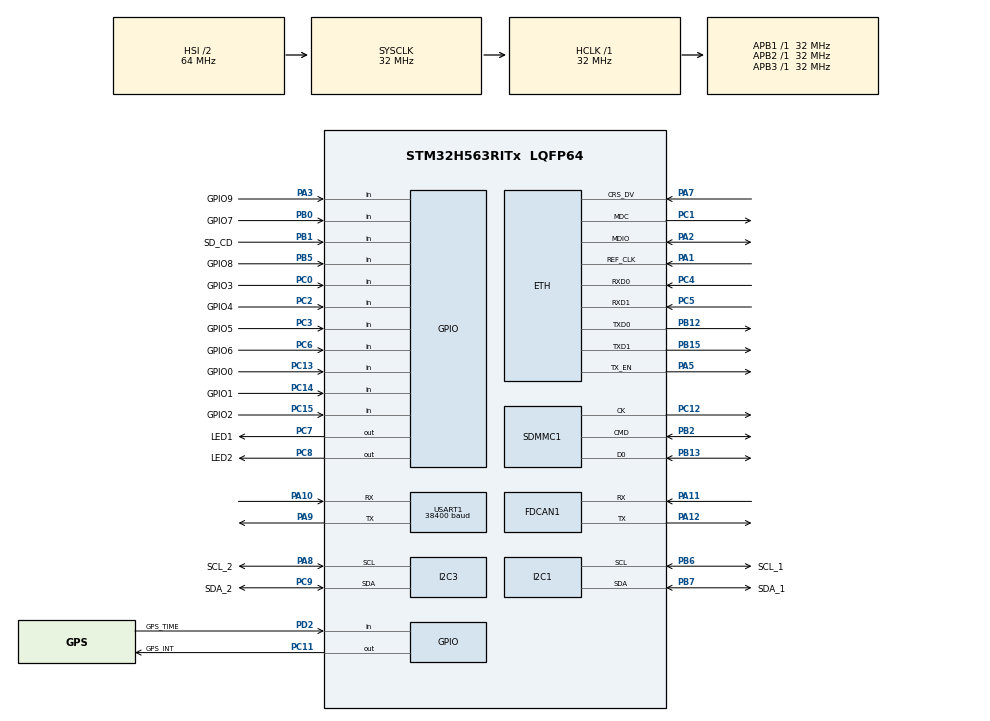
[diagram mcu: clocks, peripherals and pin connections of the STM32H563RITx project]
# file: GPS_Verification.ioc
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BOOTPATH.BootPathName=LEGACY
BOOTPATH.UserSelectedBootPath=LEGACY
CORTEX_M33_NS.Number-Cortex_Memory_Protection_Unit_Region0_OTP_RO_AREAS_Settings=MPU_REGION_NUMBER0
CORTEX_M33_NS.default_mode_Activation=1
CORTEX_M33_NS.userName=CORTEX_M33
ETH.MediaInterface=HAL_ETH_RMII_MODE
FDCAN1.CalculateBaudRateNominal=1333333
FDCAN1.CalculateTimeBitNominal=750
FDCAN1.CalculateTimeQuantumNominal=250.0
GPDMA1.CIRCULARMODE_GPDMACH0=ENABLE
GPDMA1.IPHANDLE_GPDMACH0-SIMPLEREQUEST_GPDMACH0=__NULL
GPDMA1.REQUEST_GPDMACH0=GPDMA1_REQUEST_USART1_TX
I2C1.Timing=0x00707CBB
I2C3.Timing=0x00707CBB
Mcu.Family=STM32H5
Mcu.Name=STM32H563RITx
Mcu.Package=LQFP64
NVIC.GPDMA1_Channel0_IRQn=true\:0\:0\:false\:false\:true\:false\:true\:true
NVIC.PriorityGroup=NVIC_PRIORITYGROUP_4
NVIC.USART1_IRQn=true\:0\:0\:false\:false\:true\:true\:true\:true
PA1.Mode=RMII
PA1.Signal=ETH_REF_CLK
PA10.Mode=Asynchronous
PA10.Signal=USART1_RX
PA11.Mode=FDCAN_Activate
PA11.Signal=FDCAN1_RX
PA12.Mode=FDCAN_Activate
PA12.Signal=FDCAN1_TX
PA13(JTMS/SWDIO).Mode=Serial_Wire
PA13(JTMS/SWDIO).Signal=DEBUG_JTMS-SWDIO
PA14(JTCK/SWCLK).Mode=Serial_Wire
PA14(JTCK/SWCLK).Signal=DEBUG_JTCK-SWCLK
PA2.Mode=RMII
PA2.Signal=ETH_MDIO
PA3.GPIO_Label=GPIO9
PA3.Signal=GPIO_Input
PA5.Mode=RMII
PA5.Signal=ETH_TX_EN
PA7.Mode=RMII
PA7.Signal=ETH_CRS_DV
PA8.GPIO_Label=SCL_2
PA8.Mode=I2C
PA8.Signal=I2C3_SCL
PA9.Mode=Asynchronous
PA9.Signal=USART1_TX
PB0.GPIO_Label=GPIO7
PB0.Signal=GPIO_Input
PB1.GPIO_Label=SD_CD
PB1.Signal=GPIO_Input
PB12.Mode=RMII
PB12.Signal=ETH_TXD0
PB13.Mode=SD_1_bit
PB13.Signal=SDMMC1_D0
PB15.Mode=RMII
PB15.Signal=ETH_TXD1
PB2.Mode=SD_1_bit
PB2.Signal=SDMMC1_CMD
PB5.GPIO_Label=GPIO8
PB5.Signal=GPIO_Input
PB6.GPIO_Label=SCL_1
PB6.Mode=I2C
PB6.Signal=I2C1_SCL
PB7.GPIO_Label=SDA_1
PB7.Mode=I2C
PB7.Signal=I2C1_SDA
PC0.GPIO_Label=GPIO3
PC0.Signal=GPIO_Input
PC1.Mode=RMII
PC1.Signal=ETH_MDC
PC11.GPIO_Label=GPS_INT
PC11.Signal=GPIO_Output
PC12.Mode=SD_1_bit
PC12.Signal=SDMMC1_CK
PC13.GPIO_Label=GPIO0
PC13.Signal=GPIO_Input
PC14-OSC32_IN(OSC32_IN).GPIO_Label=GPIO1
PC14-OSC32_IN(OSC32_IN).Signal=GPIO_Input
PC15-OSC32_OUT(OSC32_OUT).GPIO_Label=GPIO2
PC15-OSC32_OUT(OSC32_OUT).Signal=GPIO_Input
PC2.GPIO_Label=GPIO4
PC2.Signal=GPIO_Input
PC3.GPIO_Label=GPIO5
PC3.Signal=GPIO_Input
PC4.Mode=RMII
PC4.Signal=ETH_RXD0
PC5.Mode=RMII
PC5.Signal=ETH_RXD1
PC6.GPIO_Label=GPIO6
PC6.Signal=GPIO_Input
PC7.GPIO_Label=LED1
PC7.Signal=GPIO_Output
PC8.GPIO_Label=LED2
PC8.Signal=GPIO_Output
PC9.GPIO_Label=SDA_2
PC9.Mode=I2C
PC9.Signal=I2C3_SDA
PD2.GPIO_Label=GPS_TIME
PD2.Signal=GPIO_Input
ProjectManager.HeapSize=0x200
ProjectManager.StackSize=0x400
ProjectManager.TargetToolchain=CMake
RCC.ADCFreq_Value=32000000
RCC.AHBFreq_Value=32000000
RCC.APB1Freq_Value=32000000
RCC.APB1TimFreq_Value=32000000
RCC.APB2Freq_Value=32000000
RCC.APB2TimFreq_Value=32000000
RCC.APB3Freq_Value=32000000
RCC.CSI_VALUE=4000000
RCC.CortexFreq_Value=32000000
RCC.EPOD_VALUE=4000000
RCC.FDCANClockSelection=RCC_FDCANCLKSOURCE_PLL1Q
RCC.HCLKFreq_Value=32000000
RCC.HSE_VALUE=25000000
RCC.HSI48_VALUE=48000000
RCC.HSI_VALUE=64000000
RCC.LSE_VALUE=32768
RCC.LSIRC_VALUE=32000
RCC.PLLFRACN=0
RCC.PLLN=32
RCC.SYSCLKFreq_VALUE=32000000
RCC.USBFreq_Value=48000000
RCC.VCOOutputFreq_Value=128000000
USART1.BaudRate=38400
USART1.VirtualMode-Asynchronous=VM_ASYNC
VP_BOOTPATH_VS_BOOTPATH.Mode=BP_Activate
VP_CORTEX_M33_NS_VS_Hclk.Mode=Hclk_Mode
VP_GPDMA1_VS_GPDMACH0.Mode=SIMPLEREQUEST_GPDMACH0
VP_ICACHE_VS_ICACHE.Mode=DirectMappedCache
VP_MEMORYMAP_VS_MEMORYMAP.Mode=CurAppReg
VP_PWR_VS_LPOM.Mode=PowerOptimisation
VP_PWR_VS_SECSignals.Mode=Security/Privilege
board=custom

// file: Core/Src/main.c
/* USER CODE BEGIN Header */
/* USER CODE END Header */
#include "main.h"
#include "string.h"

/* USER CODE BEGIN Includes */
#include <stdio.h>
/* USER CODE END Includes */

ETH_TxPacketConfigTypeDef TxConfig;
ETH_DMADescTypeDef  DMARxDscrTab[ETH_RX_DESC_CNT]; /* Ethernet Rx DMA Descriptors */
ETH_DMADescTypeDef  DMATxDscrTab[ETH_TX_DESC_CNT]; /* Ethernet Tx DMA Descriptors */

ETH_HandleTypeDef heth;

FDCAN_HandleTypeDef hfdcan1;

I2C_HandleTypeDef hi2c1;
I2C_HandleTypeDef hi2c3;

SD_HandleTypeDef hsd1;

UART_HandleTypeDef huart1;
DMA_NodeTypeDef Node_GPDMA1_Channel0;
DMA_QListTypeDef List_GPDMA1_Channel0;
DMA_HandleTypeDef handle_GPDMA1_Channel0;

/* USER CODE BEGIN PV */
/* USER CODE BEGIN PV */
#define RX_BUFFER_SIZE 256

uint8_t rx_byte;                    // Current byte received
uint8_t rx_buffer[RX_BUFFER_SIZE];  // Buffer to hold the NMEA sentence
uint16_t rx_index = 0;              // Current position in the buffer
volatile uint8_t sentence_ready = 0;// Flag set when a full sentence is received
/* USER CODE END PV */

void SystemClock_Config(void);
static void MPU_Config(void);
static void MX_GPIO_Init(void);
static void MX_GPDMA1_Init(void);
static void MX_ETH_Init(void);
static void MX_FDCAN1_Init(void);
static void MX_I2C1_Init(void);
static void MX_I2C3_Init(void);
static void MX_ICACHE_Init(void);
static void MX_USART1_UART_Init(void);
static void MX_SDMMC1_SD_Init(void);

/* USER CODE BEGIN 0 */
int _write(int file, char *ptr, int len)
{
    for (int i = 0; i < len; i++)
    {
        ITM_SendChar(*ptr++);
    }
    return len;
}
/* USER CODE END 0 */

int main(void)
{

  /* MCU Configuration--------------------------------------------------------*/

  /* MPU Configuration--------------------------------------------------------*/
  MPU_Config();

  /* Reset of all peripherals, Initializes the Flash interface and the Systick. */
  HAL_Init();

  /* Configure the system clock */
  SystemClock_Config();

  /* Initialize all configured peripherals */
  MX_GPIO_Init();
  MX_GPDMA1_Init();
  MX_ETH_Init();
  MX_FDCAN1_Init();
  MX_I2C1_Init();
  MX_I2C3_Init();
  MX_ICACHE_Init();
  MX_USART1_UART_Init();
  MX_SDMMC1_SD_Init();
  /* USER CODE BEGIN 2 */
  HAL_UART_Receive_IT(&huart1, &rx_byte, 1);
  /* USER CODE END 2 */

/* Infinite loop */
  /* USER CODE BEGIN WHILE */
  uint32_t gps_led_timer = 0;

  // Disable printf buffering so text prints immediately
  setvbuf(stdout, NULL, _IONBF, 0);
  printf("System Initialized. Waiting for GPS data...\r\n");

  while (1) {
      // 1. Check if a full NMEA sentence has arrived from the GPS
      if (sentence_ready) {

          // Dump the received GPS sentence over ST-Link SWO
          printf("GPS: %s", rx_buffer);

          // Turn the LED ON to indicate data was received
          HAL_GPIO_WritePin(GPIOC, GPIO_PIN_7, GPIO_PIN_SET);

          // Record the timestamp so we know when to turn it off
          gps_led_timer = HAL_GetTick();

          // Reset the flag to allow processing of the next sentence
          sentence_ready = 0;
      }

      // 2. Non-blocking LED Off: Turn the LED off after 50ms to create a quick "flash"
      if (HAL_GetTick() - gps_led_timer >= 50) {
          HAL_GPIO_WritePin(GPIOC, GPIO_PIN_7, GPIO_PIN_RESET);
      }
  }
  /* USER CODE END WHILE */

}

void SystemClock_Config(void)
{
  RCC_OscInitTypeDef RCC_OscInitStruct = {0};
  RCC_ClkInitTypeDef RCC_ClkInitStruct = {0};

  /** Configure the main internal regulator output voltage
  */
  __HAL_PWR_VOLTAGESCALING_CONFIG(PWR_REGULATOR_VOLTAGE_SCALE3);

  while(!__HAL_PWR_GET_FLAG(PWR_FLAG_VOSRDY)) {}

  /** Initializes the RCC Oscillators according to the specified parameters
  * in the RCC_OscInitTypeDef structure.
  */
  RCC_OscInitStruct.OscillatorType = RCC_OSCILLATORTYPE_HSI|RCC_OSCILLATORTYPE_CSI;
  RCC_OscInitStruct.HSIState = RCC_HSI_ON;
  RCC_OscInitStruct.HSIDiv = RCC_HSI_DIV2;
  RCC_OscInitStruct.HSICalibrationValue = RCC_HSICALIBRATION_DEFAULT;
  RCC_OscInitStruct.CSIState = RCC_CSI_ON;
  RCC_OscInitStruct.CSICalibrationValue = RCC_CSICALIBRATION_DEFAULT;
  RCC_OscInitStruct.PLL.PLLState = RCC_PLL_ON;
  RCC_OscInitStruct.PLL.PLLSource = RCC_PLL1_SOURCE_CSI;
  RCC_OscInitStruct.PLL.PLLM = 1;
  RCC_OscInitStruct.PLL.PLLN = 32;
  RCC_OscInitStruct.PLL.PLLP = 2;
  RCC_OscInitStruct.PLL.PLLQ = 2;
  RCC_OscInitStruct.PLL.PLLR = 2;
  RCC_OscInitStruct.PLL.PLLRGE = RCC_PLL1_VCIRANGE_2;
  RCC_OscInitStruct.PLL.PLLVCOSEL = RCC_PLL1_VCORANGE_WIDE;
  RCC_OscInitStruct.PLL.PLLFRACN = 0;
  if (HAL_RCC_OscConfig(&RCC_OscInitStruct) != HAL_OK)
  {
    Error_Handler();
  }

  /** Initializes the CPU, AHB and APB buses clocks
  */
  RCC_ClkInitStruct.ClockType = RCC_CLOCKTYPE_HCLK|RCC_CLOCKTYPE_SYSCLK
                              |RCC_CLOCKTYPE_PCLK1|RCC_CLOCKTYPE_PCLK2
                              |RCC_CLOCKTYPE_PCLK3;
  RCC_ClkInitStruct.SYSCLKSource = RCC_SYSCLKSOURCE_HSI;
  RCC_ClkInitStruct.AHBCLKDivider = RCC_SYSCLK_DIV1;
  RCC_ClkInitStruct.APB1CLKDivider = RCC_HCLK_DIV1;
  RCC_ClkInitStruct.APB2CLKDivider = RCC_HCLK_DIV1;
  RCC_ClkInitStruct.APB3CLKDivider = RCC_HCLK_DIV1;

  if (HAL_RCC_ClockConfig(&RCC_ClkInitStruct, FLASH_LATENCY_1) != HAL_OK)
  {
    Error_Handler();
  }

  /** Configure the programming delay
  */
  __HAL_FLASH_SET_PROGRAM_DELAY(FLASH_PROGRAMMING_DELAY_0);
}

static void MX_ETH_Init(void)
{

   static uint8_t MACAddr[6];

  heth.Instance = ETH;
  MACAddr[0] = 0x00;
  MACAddr[1] = 0x80;
  MACAddr[2] = 0xE1;
  MACAddr[3] = 0x00;
  MACAddr[4] = 0x00;
  MACAddr[5] = 0x00;
  heth.Init.MACAddr = &MACAddr[0];
  heth.Init.MediaInterface = HAL_ETH_RMII_MODE;
  heth.Init.TxDesc = DMATxDscrTab;
  heth.Init.RxDesc = DMARxDscrTab;
  heth.Init.RxBuffLen = 1524;

  if (HAL_ETH_Init(&heth) != HAL_OK)
  {
    Error_Handler();
  }

  memset(&TxConfig, 0 , sizeof(ETH_TxPacketConfigTypeDef));
  TxConfig.Attributes = ETH_TX_PACKETS_FEATURES_CSUM | ETH_TX_PACKETS_FEATURES_CRCPAD;
  TxConfig.ChecksumCtrl = ETH_CHECKSUM_IPHDR_PAYLOAD_INSERT_PHDR_CALC;
  TxConfig.CRCPadCtrl = ETH_CRC_PAD_INSERT;

}

static void MX_FDCAN1_Init(void)
{

  hfdcan1.Instance = FDCAN1;
  hfdcan1.Init.ClockDivider = FDCAN_CLOCK_DIV1;
  hfdcan1.Init.FrameFormat = FDCAN_FRAME_CLASSIC;
  hfdcan1.Init.Mode = FDCAN_MODE_NORMAL;
  hfdcan1.Init.AutoRetransmission = DISABLE;
  hfdcan1.Init.TransmitPause = DISABLE;
  hfdcan1.Init.ProtocolException = DISABLE;
  hfdcan1.Init.NominalPrescaler = 16;
  hfdcan1.Init.NominalSyncJumpWidth = 1;
  hfdcan1.Init.NominalTimeSeg1 = 1;
  hfdcan1.Init.NominalTimeSeg2 = 1;
  hfdcan1.Init.DataPrescaler = 1;
  hfdcan1.Init.DataSyncJumpWidth = 1;
  hfdcan1.Init.DataTimeSeg1 = 1;
  hfdcan1.Init.DataTimeSeg2 = 1;
  hfdcan1.Init.StdFiltersNbr = 0;
  hfdcan1.Init.ExtFiltersNbr = 0;
  hfdcan1.Init.TxFifoQueueMode = FDCAN_TX_FIFO_OPERATION;
  if (HAL_FDCAN_Init(&hfdcan1) != HAL_OK)
  {
    Error_Handler();
  }

}

static void MX_GPDMA1_Init(void)
{

  /* Peripheral clock enable */
  __HAL_RCC_GPDMA1_CLK_ENABLE();

  /* GPDMA1 interrupt Init */
    HAL_NVIC_SetPriority(GPDMA1_Channel0_IRQn, 0, 0);
    HAL_NVIC_EnableIRQ(GPDMA1_Channel0_IRQn);

}

static void MX_I2C1_Init(void)
{

  hi2c1.Instance = I2C1;
  hi2c1.Init.Timing = 0x00707CBB;
  hi2c1.Init.OwnAddress1 = 0;
  hi2c1.Init.AddressingMode = I2C_ADDRESSINGMODE_7BIT;
  hi2c1.Init.DualAddressMode = I2C_DUALADDRESS_DISABLE;
  hi2c1.Init.OwnAddress2 = 0;
  hi2c1.Init.OwnAddress2Masks = I2C_OA2_NOMASK;
  hi2c1.Init.GeneralCallMode = I2C_GENERALCALL_DISABLE;
  hi2c1.Init.NoStretchMode = I2C_NOSTRETCH_DISABLE;
  if (HAL_I2C_Init(&hi2c1) != HAL_OK)
  {
    Error_Handler();
  }

  /** Configure Analogue filter
  */
  if (HAL_I2CEx_ConfigAnalogFilter(&hi2c1, I2C_ANALOGFILTER_ENABLE) != HAL_OK)
  {
    Error_Handler();
  }

  /** Configure Digital filter
  */
  if (HAL_I2CEx_ConfigDigitalFilter(&hi2c1, 0) != HAL_OK)
  {
    Error_Handler();
  }

}

static void MX_I2C3_Init(void)
{

  hi2c3.Instance = I2C3;
  hi2c3.Init.Timing = 0x00707CBB;
  hi2c3.Init.OwnAddress1 = 0;
  hi2c3.Init.AddressingMode = I2C_ADDRESSINGMODE_7BIT;
  hi2c3.Init.DualAddressMode = I2C_DUALADDRESS_DISABLE;
  hi2c3.Init.OwnAddress2 = 0;
  hi2c3.Init.OwnAddress2Masks = I2C_OA2_NOMASK;
  hi2c3.Init.GeneralCallMode = I2C_GENERALCALL_DISABLE;
  hi2c3.Init.NoStretchMode = I2C_NOSTRETCH_DISABLE;
  if (HAL_I2C_Init(&hi2c3) != HAL_OK)
  {
    Error_Handler();
  }

  /** Configure Analogue filter
  */
  if (HAL_I2CEx_ConfigAnalogFilter(&hi2c3, I2C_ANALOGFILTER_ENABLE) != HAL_OK)
  {
    Error_Handler();
  }

  /** Configure Digital filter
  */
  if (HAL_I2CEx_ConfigDigitalFilter(&hi2c3, 0) != HAL_OK)
  {
    Error_Handler();
  }

}

static void MX_ICACHE_Init(void)
{

  /** Enable instruction cache in 1-way (direct mapped cache)
  */
  if (HAL_ICACHE_ConfigAssociativityMode(ICACHE_1WAY) != HAL_OK)
  {
    Error_Handler();
  }
  if (HAL_ICACHE_Enable() != HAL_OK)
  {
    Error_Handler();
  }

}

static void MX_SDMMC1_SD_Init(void)
{

  hsd1.Instance = SDMMC1;
  hsd1.Init.ClockEdge = SDMMC_CLOCK_EDGE_RISING;
  hsd1.Init.ClockPowerSave = SDMMC_CLOCK_POWER_SAVE_DISABLE;
  hsd1.Init.BusWide = SDMMC_BUS_WIDE_1B;
  hsd1.Init.HardwareFlowControl = SDMMC_HARDWARE_FLOW_CONTROL_DISABLE;
  hsd1.Init.ClockDiv = 0;
  if (HAL_SD_Init(&hsd1) != HAL_OK)
  {
    Error_Handler();
  }

}

static void MX_USART1_UART_Init(void)
{

  huart1.Instance = USART1;
  huart1.Init.BaudRate = 38400;
  huart1.Init.WordLength = UART_WORDLENGTH_8B;
  huart1.Init.StopBits = UART_STOPBITS_1;
  huart1.Init.Parity = UART_PARITY_NONE;
  huart1.Init.Mode = UART_MODE_TX_RX;
  huart1.Init.HwFlowCtl = UART_HWCONTROL_NONE;
  huart1.Init.OverSampling = UART_OVERSAMPLING_16;
  huart1.Init.OneBitSampling = UART_ONE_BIT_SAMPLE_DISABLE;
  huart1.Init.ClockPrescaler = UART_PRESCALER_DIV1;
  huart1.AdvancedInit.AdvFeatureInit = UART_ADVFEATURE_NO_INIT;
  if (HAL_UART_Init(&huart1) != HAL_OK)
  {
    Error_Handler();
  }
  if (HAL_UARTEx_SetTxFifoThreshold(&huart1, UART_TXFIFO_THRESHOLD_1_8) != HAL_OK)
  {
    Error_Handler();
  }
  if (HAL_UARTEx_SetRxFifoThreshold(&huart1, UART_RXFIFO_THRESHOLD_1_8) != HAL_OK)
  {
    Error_Handler();
  }
  if (HAL_UARTEx_DisableFifoMode(&huart1) != HAL_OK)
  {
    Error_Handler();
  }

}

static void MX_GPIO_Init(void)
{
  GPIO_InitTypeDef GPIO_InitStruct = {0};

  /* GPIO Ports Clock Enable */
  __HAL_RCC_GPIOC_CLK_ENABLE();
  __HAL_RCC_GPIOA_CLK_ENABLE();
  __HAL_RCC_GPIOB_CLK_ENABLE();
  __HAL_RCC_GPIOD_CLK_ENABLE();

  /*Configure GPIO pin Output Level */
  HAL_GPIO_WritePin(GPIOC, LED1_Pin|LED2_Pin|GPS_INT_Pin, GPIO_PIN_RESET);

  /*Configure GPIO pins : GPIO0_Pin GPIO1_Pin GPIO2_Pin GPIO3_Pin
                           GPIO4_Pin GPIO5_Pin GPIO6_Pin */
  GPIO_InitStruct.Pin = GPIO0_Pin|GPIO1_Pin|GPIO2_Pin|GPIO3_Pin
                          |GPIO4_Pin|GPIO5_Pin|GPIO6_Pin;
  GPIO_InitStruct.Mode = GPIO_MODE_INPUT;
  GPIO_InitStruct.Pull = GPIO_NOPULL;
  HAL_GPIO_Init(GPIOC, &GPIO_InitStruct);

  /*Configure GPIO pin : GPIO9_Pin */
  GPIO_InitStruct.Pin = GPIO9_Pin;
  GPIO_InitStruct.Mode = GPIO_MODE_INPUT;
  GPIO_InitStruct.Pull = GPIO_NOPULL;
  HAL_GPIO_Init(GPIO9_GPIO_Port, &GPIO_InitStruct);

  /*Configure GPIO pins : GPIO7_Pin SD_CD_Pin GPIO8_Pin */
  GPIO_InitStruct.Pin = GPIO7_Pin|SD_CD_Pin|GPIO8_Pin;
  GPIO_InitStruct.Mode = GPIO_MODE_INPUT;
  GPIO_InitStruct.Pull = GPIO_NOPULL;
  HAL_GPIO_Init(GPIOB, &GPIO_InitStruct);

  /*Configure GPIO pins : LED1_Pin LED2_Pin GPS_INT_Pin */
  GPIO_InitStruct.Pin = LED1_Pin|LED2_Pin|GPS_INT_Pin;
  GPIO_InitStruct.Mode = GPIO_MODE_OUTPUT_PP;
  GPIO_InitStruct.Pull = GPIO_NOPULL;
  GPIO_InitStruct.Speed = GPIO_SPEED_FREQ_LOW;
  HAL_GPIO_Init(GPIOC, &GPIO_InitStruct);

  /*Configure GPIO pin : GPS_TIME_Pin */
  GPIO_InitStruct.Pin = GPS_TIME_Pin;
  GPIO_InitStruct.Mode = GPIO_MODE_INPUT;
  GPIO_InitStruct.Pull = GPIO_NOPULL;
  HAL_GPIO_Init(GPS_TIME_GPIO_Port, &GPIO_InitStruct);

}

/* USER CODE BEGIN 4 */
void HAL_UART_RxCpltCallback(UART_HandleTypeDef *huart)
{
    if (huart->Instance == USART1) {
        // Store the received byte into the buffer
        if (rx_index < RX_BUFFER_SIZE - 1) {
            rx_buffer[rx_index++] = rx_byte;
        }

        // Check if the received byte is a newline (end of NMEA sentence)
        if (rx_byte == '\n') {
            rx_buffer[rx_index] = '\0'; // Null-terminate the string
            sentence_ready = 1;         // Alert the main loop
            rx_index = 0;               // Reset the index for the next sentence
        }

        // Re-arm the interrupt to catch the very next byte
        HAL_UART_Receive_IT(&huart1, &rx_byte, 1);
    }
}
/* USER CODE END 4 */

 /* MPU Configuration */

void MPU_Config(void)
{
  MPU_Region_InitTypeDef MPU_InitStruct = {0};
  MPU_Attributes_InitTypeDef MPU_AttributesInit = {0};

  /* Disables the MPU */
  HAL_MPU_Disable();

  /** Initializes and configures the Region 0 and the memory to be protected
  */
  MPU_InitStruct.Enable = MPU_REGION_ENABLE;
  MPU_InitStruct.Number = MPU_REGION_NUMBER0;
  MPU_InitStruct.BaseAddress = 0x08FFF000;
  MPU_InitStruct.LimitAddress = 0x08FFFFFF;
  MPU_InitStruct.AttributesIndex = MPU_ATTRIBUTES_NUMBER0;
  MPU_InitStruct.AccessPermission = MPU_REGION_ALL_RO;
  MPU_InitStruct.DisableExec = MPU_INSTRUCTION_ACCESS_DISABLE;
  MPU_InitStruct.IsShareable = MPU_ACCESS_NOT_SHAREABLE;

  HAL_MPU_ConfigRegion(&MPU_InitStruct);

  /** Initializes and configures the Attribute 0 and the memory to be protected
  */
  MPU_AttributesInit.Number = MPU_ATTRIBUTES_NUMBER0;
  MPU_AttributesInit.Attributes = INNER_OUTER(MPU_NOT_CACHEABLE);

  HAL_MPU_ConfigMemoryAttributes(&MPU_AttributesInit);
  /* Enables the MPU */
  HAL_MPU_Enable(MPU_PRIVILEGED_DEFAULT);

}

void Error_Handler(void)
{
}
